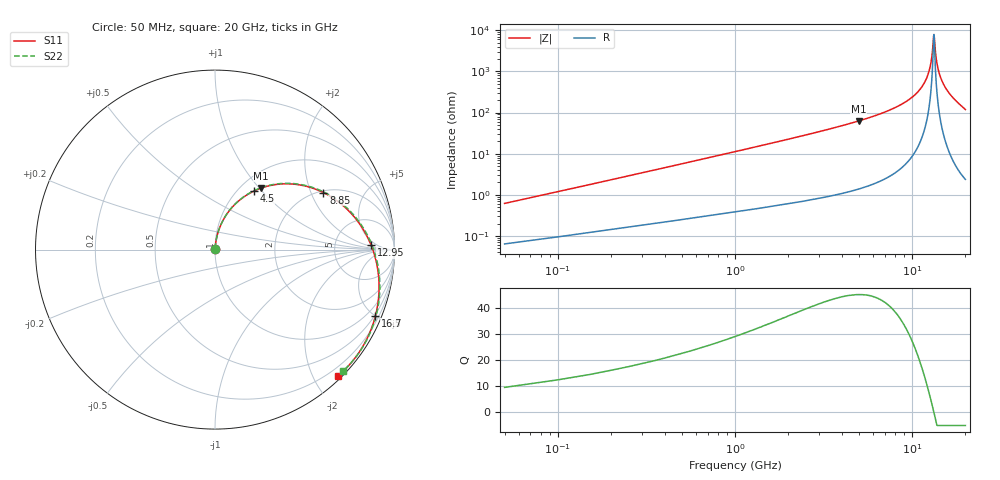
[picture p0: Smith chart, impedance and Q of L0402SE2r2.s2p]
!	AVX Thin Film Operation
!	Date:		5 January 2004
!	Description: 	Accu-L®  L0402 Series Thin Film RF Inductors
!	Part Number:	L04022R2AHNTR
!	50 MHz-20GHz Serial Measurements
#	mhz	S	db	R	50
!	S11	S11	S21	S21	S12	S12	S22	S22
!	dB	Phase	dB	Phase	dB	Phase	dB	Phase
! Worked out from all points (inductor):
!   400 points, 50 MHz to 20 GHz, reference 50 ohm
!   read as 1/Y11, port 2 shorted: L = 1.85 nH near 150 MHz
!   highest Q = 45.2 at 5 GHz (marker M1), where L = 1.99 nH
!   self-resonance near 13.25 GHz
!   S11 on the Smith chart (normalised r, x): 50 MHz: 1.00, +0.01; 4.5 GHz: 1.17, +0.90; 8.85 GHz: 2.07, +2.47; 12.95 GHz: 14, +3; 16.7 GHz: 0.44, -5.01; 20 GHz: 0.06, -2.37
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50  -45.49 82.7  -0.01 -0.4  -0.01 -0.4  -45.49 82.7
100  -39.84 83.9  -0.01 -0.8  -0.01 -0.8  -39.84 83.9
150  -36.49 84.2  -0.01 -1.2  -0.01 -1.2  -36.49 84.2
250  -32.24 84.3  -0.02 -1.9  -0.02 -1.9  -32.24 84.3
450  -27.32 83.5  -0.03 -3.4  -0.03 -3.4  -27.32 83.5
800  -22.48 81.6  -0.05 -5.9  -0.05 -5.9  -22.48 81.6
1800  -15.66 75.0  -0.17 -13.1  -0.17 -13.1  -15.66 75.1
3400  -10.40 64.0  -0.49 -24.4  -0.49 -24.4  -10.40 64.2
4500  -8.17 56.5  -0.81 -32.0  -0.81 -32.0  -8.17 56.8
5000  -7.36 53.1  -0.98 -35.4  -0.98 -35.4  -7.36 53.4
6700  -5.19 41.7  -1.69 -46.8  -1.69 -46.8  -5.19 42.2
8850  -3.32 27.7  -2.90 -60.7  -2.90 -60.7  -3.32 28.3
10050  -2.54 20.0  -3.76 -68.3  -3.76 -68.3  -2.54 20.7
12950  -1.21 1.7  -6.56 -86.2  -6.56 -86.2  -1.21 2.6
13350  -1.08 -0.8  -7.06 -88.6  -7.06 -88.6  -1.08 0.2
16700  -0.29 -22.4  -13.97 -108.2  -13.97 -108.2  -0.29 -21.0
18250  -0.14 -33.0  -22.66 -112.2  -22.66 -112.2  -0.13 -31.3
18650  -0.12 -35.8  -27.96 -106.2  -27.96 -106.2  -0.12 -34.1
19050  -0.12 -38.7  -37.58 -48.6  -37.58 -48.6  -0.11 -36.8
19150  -0.12 -39.4  -36.75 -12.0  -36.75 -12.0  -0.11 -37.5
19550  -0.13 -42.3  -26.96 31.5  -26.96 31.5  -0.12 -40.4
20000  -0.15 -45.7  -21.33 36.3  -21.33 36.3  -0.15 -43.6
